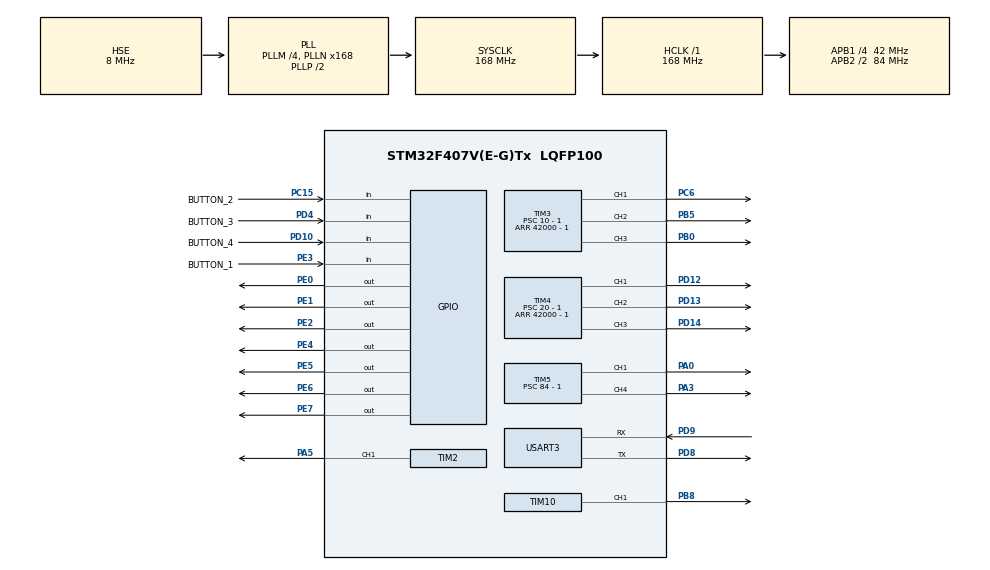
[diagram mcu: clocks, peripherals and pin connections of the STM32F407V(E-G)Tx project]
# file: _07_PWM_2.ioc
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Mcu.Family=STM32F4
Mcu.Name=STM32F407V(E-G)Tx
Mcu.Package=LQFP100
NVIC.PriorityGroup=NVIC_PRIORITYGROUP_4
NVIC.TIM7_IRQn=true\:0\:0\:false\:true\:true\:2\:true\:true\:true
NVIC.USART3_IRQn=true\:0\:0\:false\:true\:true\:1\:true\:true\:true
PA0-WKUP.Signal=S_TIM5_CH1
PA3.Signal=S_TIM5_CH4
PA5.Signal=S_TIM2_CH1_ETR
PB0.Signal=S_TIM3_CH3
PB5.Signal=S_TIM3_CH2
PB8.Signal=S_TIM10_CH1
PC15-OSC32_OUT.GPIO_Label=BUTTON_2
PC15-OSC32_OUT.Signal=GPIO_Input
PC6.Signal=S_TIM3_CH1
PD10.GPIO_Label=BUTTON_4
PD10.Signal=GPIO_Input
PD12.Signal=S_TIM4_CH1
PD13.Signal=S_TIM4_CH2
PD14.Signal=S_TIM4_CH3
PD4.GPIO_Label=BUTTON_3
PD4.Signal=GPIO_Input
PD8.Mode=Asynchronous
PD8.Signal=USART3_TX
PD9.Mode=Asynchronous
PD9.Signal=USART3_RX
PE0.Signal=GPIO_Output
PE1.Signal=GPIO_Output
PE2.Signal=GPIO_Output
PE3.GPIO_Label=BUTTON_1
PE3.Signal=GPIO_Input
PE4.Signal=GPIO_Output
PE5.Signal=GPIO_Output
PE6.Signal=GPIO_Output
PE7.Signal=GPIO_Output
PH0-OSC_IN.Mode=HSE-External-Oscillator
PH0-OSC_IN.Signal=RCC_OSC_IN
PH1-OSC_OUT.Mode=HSE-External-Oscillator
PH1-OSC_OUT.Signal=RCC_OSC_OUT
ProjectManager.HeapSize=0x200
ProjectManager.StackSize=0x400
ProjectManager.TargetToolchain=STM32CubeIDE
RCC.48MHZClocksFreq_Value=84000000
RCC.AHBFreq_Value=168000000
RCC.APB1CLKDivider=RCC_HCLK_DIV4
RCC.APB1Freq_Value=42000000
RCC.APB1TimFreq_Value=84000000
RCC.APB2CLKDivider=RCC_HCLK_DIV2
RCC.APB2Freq_Value=84000000
RCC.APB2TimFreq_Value=168000000
RCC.CortexFreq_Value=168000000
RCC.HCLKFreq_Value=168000000
RCC.HSE_VALUE=8000000
RCC.HSI_VALUE=16000000
RCC.LSE_VALUE=32768
RCC.PLLM=4
RCC.PLLN=168
RCC.PLLSourceVirtual=RCC_PLLSOURCE_HSE
RCC.SYSCLKFreq_VALUE=168000000
RCC.SYSCLKSource=RCC_SYSCLKSOURCE_PLLCLK
RCC.VCOOutputFreq_Value=336000000
SH.S_TIM10_CH1.0=TIM10_CH1,PWM Generation1 CH1
SH.S_TIM2_CH1_ETR.0=TIM2_CH1,PWM Generation1 CH1
SH.S_TIM3_CH1.0=TIM3_CH1,PWM Generation1 CH1
SH.S_TIM3_CH2.0=TIM3_CH2,PWM Generation2 CH2
SH.S_TIM3_CH3.0=TIM3_CH3,PWM Generation3 CH3
SH.S_TIM4_CH1.0=TIM4_CH1,PWM Generation1 CH1
SH.S_TIM4_CH2.0=TIM4_CH2,PWM Generation2 CH2
SH.S_TIM4_CH3.0=TIM4_CH3,PWM Generation3 CH3
SH.S_TIM5_CH1.0=TIM5_CH1,PWM Generation1 CH1
SH.S_TIM5_CH4.0=TIM5_CH4,PWM Generation4 CH4
TIM10.Channel=TIM_CHANNEL_1
TIM10.Period=10000 - 1
TIM10.Prescaler=336 - 1
TIM10.Pulse=210
TIM2.Channel-PWM\ Generation1\ CH1=TIM_CHANNEL_1
TIM2.Period=1000 - 1
TIM2.Prescaler=168 - 1
TIM2.Pulse-PWM\ Generation1\ CH1=500
TIM3.Channel-PWM\ Generation1\ CH1=TIM_CHANNEL_1
TIM3.Channel-PWM\ Generation2\ CH2=TIM_CHANNEL_2
TIM3.Channel-PWM\ Generation3\ CH3=TIM_CHANNEL_3
TIM3.Period=42000 - 1
TIM3.Prescaler=10 - 1
TIM3.Pulse-PWM\ Generation1\ CH1=21000 - 1
TIM3.Pulse-PWM\ Generation2\ CH2=10500 - 1
TIM3.Pulse-PWM\ Generation3\ CH3=5250 - 1
TIM4.Channel-PWM\ Generation1\ CH1=TIM_CHANNEL_1
TIM4.Channel-PWM\ Generation2\ CH2=TIM_CHANNEL_2
TIM4.Channel-PWM\ Generation3\ CH3=TIM_CHANNEL_3
TIM4.Period=42000 - 1
TIM4.Prescaler=20 - 1
TIM4.Pulse-PWM\ Generation1\ CH1=21000 - 1
TIM4.Pulse-PWM\ Generation2\ CH2=10500 - 1
TIM4.Pulse-PWM\ Generation3\ CH3=5250 - 1
TIM5.Channel-PWM\ Generation1\ CH1=TIM_CHANNEL_1
TIM5.Channel-PWM\ Generation4\ CH4=TIM_CHANNEL_4
TIM5.Period=10000 - 1
TIM5.Prescaler=84 - 1
TIM5.Pulse-PWM\ Generation1\ CH1=5000
TIM7.Period=8400 - 1
TIM7.Prescaler=10000 - 1
USART3.VirtualMode=VM_ASYNC
VP_TIM10_VS_ClockSourceINT.Mode=Enable_Timer
VP_TIM2_VS_ClockSourceINT.Mode=Internal
VP_TIM3_VS_ClockSourceINT.Mode=Internal
VP_TIM4_VS_ClockSourceINT.Mode=Internal
VP_TIM5_VS_ClockSourceINT.Mode=Internal
VP_TIM7_VS_ClockSourceINT.Mode=Enable_Timer
board=custom

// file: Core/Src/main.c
/* USER CODE BEGIN Header */
/**
  ******************************************************************************
  * @file           : main.c
  * @brief          : Main program body
  ******************************************************************************
  * @attention
  *
  * Copyright (c) 2025 STMicroelectronics.
  * All rights reserved.
  *
  * This software is licensed under terms that can be found in the LICENSE file
  * in the root directory of this software component.
  * If no LICENSE file comes with this software, it is provided AS-IS.
  *
  ******************************************************************************
  */
/* USER CODE END Header */
#include "main.h"

/* USER CODE BEGIN Includes */
#include <stdio.h>
#include "button.h"
#include "led.h"
#include "uart.h"
#include "lcd.h"
/* USER CODE END Includes */

TIM_HandleTypeDef htim2;
TIM_HandleTypeDef htim3;
TIM_HandleTypeDef htim4;
TIM_HandleTypeDef htim5;
TIM_HandleTypeDef htim7;
TIM_HandleTypeDef htim10;

UART_HandleTypeDef huart3;

void SystemClock_Config(void);
static void MX_GPIO_Init(void);
static void MX_USART3_UART_Init(void);
static void MX_TIM7_Init(void);
static void MX_TIM3_Init(void);
static void MX_TIM4_Init(void);
static void MX_TIM10_Init(void);
static void MX_TIM2_Init(void);
static void MX_TIM5_Init(void);
static void MX_NVIC_Init(void);

int main(void)
{

  /* MCU Configuration--------------------------------------------------------*/

  /* Reset of all peripherals, Initializes the Flash interface and the Systick. */
  HAL_Init();

  /* USER CODE BEGIN Init */
  CLCD_GPIO_Init();
  CLCD_Init();
  /* USER CODE END Init */

  /* Configure the system clock */
  SystemClock_Config();

  /* Initialize all configured peripherals */
  MX_GPIO_Init();
  MX_USART3_UART_Init();
  MX_TIM7_Init();
  MX_TIM3_Init();
  MX_TIM4_Init();
  MX_TIM10_Init();
  MX_TIM2_Init();
  MX_TIM5_Init();

  /* Initialize interrupts */
  MX_NVIC_Init();
  /* USER CODE BEGIN 2 */
  HAL_TIM_Base_Start_IT(&htim7);
  HAL_TIM_PWM_Start(&htim3, TIM_CHANNEL_1);
  HAL_TIM_PWM_Start(&htim3, TIM_CHANNEL_2);
  HAL_TIM_PWM_Start(&htim3, TIM_CHANNEL_3);
  HAL_TIM_PWM_Start(&htim4, TIM_CHANNEL_1);
  HAL_TIM_PWM_Start(&htim4, TIM_CHANNEL_2);
  HAL_TIM_PWM_Start(&htim4, TIM_CHANNEL_3);

  HAL_TIM_PWM_Start(&htim10, TIM_CHANNEL_1);
//  HAL_TIM_PWM_Start(&htim2, TIM_CHANNEL_1);
  HAL_TIM_PWM_Start(&htim5, TIM_CHANNEL_1);
  HAL_TIM_PWM_Start(&htim5, TIM_CHANNEL_2);

  CLCD_GPIO_Init();
  CLCD_Init();
  /* USER CODE END 2 */

  /* Infinite loop */
  /* USER CODE BEGIN WHILE */

  receive_data();
//  TIM10->CCR1 = 42;
  static bool turn_falg;
  static uint16_t ccr;
  static bool button_state;
  static bool last_button_state;

  static bool button_state_2;
  static bool last_button_state_2;

  static bool ccr_state;

//  TIM2->ARR = 500;
//  TIM2->CCR1 = 250;
  TIM5->CCR1 = 1000;
  TIM5->CCR4 = 0;

  uint8_t buffer[16];

  while (1)
  {

//	  button_state = HAL_GPIO_ReadPin(BUTTON_1_GPIO_Port, BUTTON_1_Pin);
//	  button_state_2 = HAL_GPIO_ReadPin(BUTTON_2_GPIO_Port, BUTTON_2_Pin);
//
//	  if (!last_button_state && button_state)
//	  {
//		  if (ccr_state)
//		  {
//			  ccr = 210;
//			  ccr_state = !ccr_state;
//		  }
//		  else
//		  {
//			  ccr = 1285;
//			  ccr_state = !ccr_state;
//		  }
//	  }
//
//	  TIM10->CCR1 = ccr;
//
//	  last_button_state = button_state;
//	  last_button_state_2 = button_state_2;
//	  if (ccr > 257)
//	  {
//		  turn_falg = true;
//	  }
//
//	  if (ccr < 42)
//	  {
//		  turn_falg = false;
//	  }
//
//	  if (turn_falg) ccr--;
//	  else ccr++;

	  TIM10->CCR1 = ccr;
	  ccr += 1000;
	  if (ccr > TIM10->ARR) ccr = 0;
	  HAL_Delay(50);

    /* USER CODE END WHILE */

  }
}

void SystemClock_Config(void)
{
  RCC_OscInitTypeDef RCC_OscInitStruct = {0};
  RCC_ClkInitTypeDef RCC_ClkInitStruct = {0};

  /** Configure the main internal regulator output voltage
  */
  __HAL_RCC_PWR_CLK_ENABLE();
  __HAL_PWR_VOLTAGESCALING_CONFIG(PWR_REGULATOR_VOLTAGE_SCALE1);

  /** Initializes the RCC Oscillators according to the specified parameters
  * in the RCC_OscInitTypeDef structure.
  */
  RCC_OscInitStruct.OscillatorType = RCC_OSCILLATORTYPE_HSE;
  RCC_OscInitStruct.HSEState = RCC_HSE_ON;
  RCC_OscInitStruct.PLL.PLLState = RCC_PLL_ON;
  RCC_OscInitStruct.PLL.PLLSource = RCC_PLLSOURCE_HSE;
  RCC_OscInitStruct.PLL.PLLM = 4;
  RCC_OscInitStruct.PLL.PLLN = 168;
  RCC_OscInitStruct.PLL.PLLP = RCC_PLLP_DIV2;
  RCC_OscInitStruct.PLL.PLLQ = 4;
  if (HAL_RCC_OscConfig(&RCC_OscInitStruct) != HAL_OK)
  {
    Error_Handler();
  }

  /** Initializes the CPU, AHB and APB buses clocks
  */
  RCC_ClkInitStruct.ClockType = RCC_CLOCKTYPE_HCLK|RCC_CLOCKTYPE_SYSCLK
                              |RCC_CLOCKTYPE_PCLK1|RCC_CLOCKTYPE_PCLK2;
  RCC_ClkInitStruct.SYSCLKSource = RCC_SYSCLKSOURCE_PLLCLK;
  RCC_ClkInitStruct.AHBCLKDivider = RCC_SYSCLK_DIV1;
  RCC_ClkInitStruct.APB1CLKDivider = RCC_HCLK_DIV4;
  RCC_ClkInitStruct.APB2CLKDivider = RCC_HCLK_DIV2;

  if (HAL_RCC_ClockConfig(&RCC_ClkInitStruct, FLASH_LATENCY_5) != HAL_OK)
  {
    Error_Handler();
  }
}

/**
  * @brief NVIC Configuration.
  * @retval None
  */
static void MX_NVIC_Init(void)
{
  /* USART3_IRQn interrupt configuration */
  HAL_NVIC_SetPriority(USART3_IRQn, 0, 0);
  HAL_NVIC_EnableIRQ(USART3_IRQn);
  /* TIM7_IRQn interrupt configuration */
  HAL_NVIC_SetPriority(TIM7_IRQn, 0, 0);
  HAL_NVIC_EnableIRQ(TIM7_IRQn);
}

static void MX_TIM2_Init(void)
{

  TIM_ClockConfigTypeDef sClockSourceConfig = {0};
  TIM_MasterConfigTypeDef sMasterConfig = {0};
  TIM_OC_InitTypeDef sConfigOC = {0};

  htim2.Instance = TIM2;
  htim2.Init.Prescaler = 168 - 1;
  htim2.Init.CounterMode = TIM_COUNTERMODE_UP;
  htim2.Init.Period = 1000 - 1;
  htim2.Init.ClockDivision = TIM_CLOCKDIVISION_DIV1;
  htim2.Init.AutoReloadPreload = TIM_AUTORELOAD_PRELOAD_DISABLE;
  if (HAL_TIM_Base_Init(&htim2) != HAL_OK)
  {
    Error_Handler();
  }
  sClockSourceConfig.ClockSource = TIM_CLOCKSOURCE_INTERNAL;
  if (HAL_TIM_ConfigClockSource(&htim2, &sClockSourceConfig) != HAL_OK)
  {
    Error_Handler();
  }
  if (HAL_TIM_PWM_Init(&htim2) != HAL_OK)
  {
    Error_Handler();
  }
  sMasterConfig.MasterOutputTrigger = TIM_TRGO_RESET;
  sMasterConfig.MasterSlaveMode = TIM_MASTERSLAVEMODE_DISABLE;
  if (HAL_TIMEx_MasterConfigSynchronization(&htim2, &sMasterConfig) != HAL_OK)
  {
    Error_Handler();
  }
  sConfigOC.OCMode = TIM_OCMODE_PWM1;
  sConfigOC.Pulse = 500;
  sConfigOC.OCPolarity = TIM_OCPOLARITY_HIGH;
  sConfigOC.OCFastMode = TIM_OCFAST_DISABLE;
  if (HAL_TIM_PWM_ConfigChannel(&htim2, &sConfigOC, TIM_CHANNEL_1) != HAL_OK)
  {
    Error_Handler();
  }
  HAL_TIM_MspPostInit(&htim2);

}

static void MX_TIM3_Init(void)
{

  TIM_ClockConfigTypeDef sClockSourceConfig = {0};
  TIM_MasterConfigTypeDef sMasterConfig = {0};
  TIM_OC_InitTypeDef sConfigOC = {0};

  htim3.Instance = TIM3;
  htim3.Init.Prescaler = 10 - 1;
  htim3.Init.CounterMode = TIM_COUNTERMODE_UP;
  htim3.Init.Period = 42000 - 1;
  htim3.Init.ClockDivision = TIM_CLOCKDIVISION_DIV1;
  htim3.Init.AutoReloadPreload = TIM_AUTORELOAD_PRELOAD_DISABLE;
  if (HAL_TIM_Base_Init(&htim3) != HAL_OK)
  {
    Error_Handler();
  }
  sClockSourceConfig.ClockSource = TIM_CLOCKSOURCE_INTERNAL;
  if (HAL_TIM_ConfigClockSource(&htim3, &sClockSourceConfig) != HAL_OK)
  {
    Error_Handler();
  }
  if (HAL_TIM_PWM_Init(&htim3) != HAL_OK)
  {
    Error_Handler();
  }
  sMasterConfig.MasterOutputTrigger = TIM_TRGO_RESET;
  sMasterConfig.MasterSlaveMode = TIM_MASTERSLAVEMODE_DISABLE;
  if (HAL_TIMEx_MasterConfigSynchronization(&htim3, &sMasterConfig) != HAL_OK)
  {
    Error_Handler();
  }
  sConfigOC.OCMode = TIM_OCMODE_PWM1;
  sConfigOC.Pulse = 21000 - 1;
  sConfigOC.OCPolarity = TIM_OCPOLARITY_HIGH;
  sConfigOC.OCFastMode = TIM_OCFAST_DISABLE;
  if (HAL_TIM_PWM_ConfigChannel(&htim3, &sConfigOC, TIM_CHANNEL_1) != HAL_OK)
  {
    Error_Handler();
  }
  sConfigOC.Pulse = 10500 - 1;
  if (HAL_TIM_PWM_ConfigChannel(&htim3, &sConfigOC, TIM_CHANNEL_2) != HAL_OK)
  {
    Error_Handler();
  }
  sConfigOC.Pulse = 5250 - 1;
  if (HAL_TIM_PWM_ConfigChannel(&htim3, &sConfigOC, TIM_CHANNEL_3) != HAL_OK)
  {
    Error_Handler();
  }
  HAL_TIM_MspPostInit(&htim3);

}

static void MX_TIM4_Init(void)
{

  TIM_ClockConfigTypeDef sClockSourceConfig = {0};
  TIM_MasterConfigTypeDef sMasterConfig = {0};
  TIM_OC_InitTypeDef sConfigOC = {0};

  htim4.Instance = TIM4;
  htim4.Init.Prescaler = 20 - 1;
  htim4.Init.CounterMode = TIM_COUNTERMODE_UP;
  htim4.Init.Period = 42000 - 1;
  htim4.Init.ClockDivision = TIM_CLOCKDIVISION_DIV1;
  htim4.Init.AutoReloadPreload = TIM_AUTORELOAD_PRELOAD_DISABLE;
  if (HAL_TIM_Base_Init(&htim4) != HAL_OK)
  {
    Error_Handler();
  }
  sClockSourceConfig.ClockSource = TIM_CLOCKSOURCE_INTERNAL;
  if (HAL_TIM_ConfigClockSource(&htim4, &sClockSourceConfig) != HAL_OK)
  {
    Error_Handler();
  }
  if (HAL_TIM_PWM_Init(&htim4) != HAL_OK)
  {
    Error_Handler();
  }
  sMasterConfig.MasterOutputTrigger = TIM_TRGO_RESET;
  sMasterConfig.MasterSlaveMode = TIM_MASTERSLAVEMODE_DISABLE;
  if (HAL_TIMEx_MasterConfigSynchronization(&htim4, &sMasterConfig) != HAL_OK)
  {
    Error_Handler();
  }
  sConfigOC.OCMode = TIM_OCMODE_PWM1;
  sConfigOC.Pulse = 21000 - 1;
  sConfigOC.OCPolarity = TIM_OCPOLARITY_HIGH;
  sConfigOC.OCFastMode = TIM_OCFAST_DISABLE;
  if (HAL_TIM_PWM_ConfigChannel(&htim4, &sConfigOC, TIM_CHANNEL_1) != HAL_OK)
  {
    Error_Handler();
  }
  sConfigOC.Pulse = 10500 - 1;
  if (HAL_TIM_PWM_ConfigChannel(&htim4, &sConfigOC, TIM_CHANNEL_2) != HAL_OK)
  {
    Error_Handler();
  }
  sConfigOC.Pulse = 5250 - 1;
  if (HAL_TIM_PWM_ConfigChannel(&htim4, &sConfigOC, TIM_CHANNEL_3) != HAL_OK)
  {
    Error_Handler();
  }
  HAL_TIM_MspPostInit(&htim4);

}

static void MX_TIM5_Init(void)
{

  TIM_ClockConfigTypeDef sClockSourceConfig = {0};
  TIM_MasterConfigTypeDef sMasterConfig = {0};
  TIM_OC_InitTypeDef sConfigOC = {0};

  htim5.Instance = TIM5;
  htim5.Init.Prescaler = 84 - 1;
  htim5.Init.CounterMode = TIM_COUNTERMODE_UP;
  htim5.Init.Period = 10000 - 1;
  htim5.Init.ClockDivision = TIM_CLOCKDIVISION_DIV1;
  htim5.Init.AutoReloadPreload = TIM_AUTORELOAD_PRELOAD_DISABLE;
  if (HAL_TIM_Base_Init(&htim5) != HAL_OK)
  {
    Error_Handler();
  }
  sClockSourceConfig.ClockSource = TIM_CLOCKSOURCE_INTERNAL;
  if (HAL_TIM_ConfigClockSource(&htim5, &sClockSourceConfig) != HAL_OK)
  {
    Error_Handler();
  }
  if (HAL_TIM_PWM_Init(&htim5) != HAL_OK)
  {
    Error_Handler();
  }
  sMasterConfig.MasterOutputTrigger = TIM_TRGO_RESET;
  sMasterConfig.MasterSlaveMode = TIM_MASTERSLAVEMODE_DISABLE;
  if (HAL_TIMEx_MasterConfigSynchronization(&htim5, &sMasterConfig) != HAL_OK)
  {
    Error_Handler();
  }
  sConfigOC.OCMode = TIM_OCMODE_PWM1;
  sConfigOC.Pulse = 5000;
  sConfigOC.OCPolarity = TIM_OCPOLARITY_HIGH;
  sConfigOC.OCFastMode = TIM_OCFAST_DISABLE;
  if (HAL_TIM_PWM_ConfigChannel(&htim5, &sConfigOC, TIM_CHANNEL_1) != HAL_OK)
  {
    Error_Handler();
  }
  sConfigOC.Pulse = 0;
  if (HAL_TIM_PWM_ConfigChannel(&htim5, &sConfigOC, TIM_CHANNEL_4) != HAL_OK)
  {
    Error_Handler();
  }
  HAL_TIM_MspPostInit(&htim5);

}

static void MX_TIM7_Init(void)
{

  TIM_MasterConfigTypeDef sMasterConfig = {0};

  htim7.Instance = TIM7;
  htim7.Init.Prescaler = 10000 - 1;
  htim7.Init.CounterMode = TIM_COUNTERMODE_UP;
  htim7.Init.Period = 8400 - 1;
  htim7.Init.AutoReloadPreload = TIM_AUTORELOAD_PRELOAD_DISABLE;
  if (HAL_TIM_Base_Init(&htim7) != HAL_OK)
  {
    Error_Handler();
  }
  sMasterConfig.MasterOutputTrigger = TIM_TRGO_RESET;
  sMasterConfig.MasterSlaveMode = TIM_MASTERSLAVEMODE_DISABLE;
  if (HAL_TIMEx_MasterConfigSynchronization(&htim7, &sMasterConfig) != HAL_OK)
  {
    Error_Handler();
  }

}

static void MX_TIM10_Init(void)
{

  TIM_OC_InitTypeDef sConfigOC = {0};

  htim10.Instance = TIM10;
  htim10.Init.Prescaler = 336 - 1;
  htim10.Init.CounterMode = TIM_COUNTERMODE_UP;
  htim10.Init.Period = 10000 - 1;
  htim10.Init.ClockDivision = TIM_CLOCKDIVISION_DIV1;
  htim10.Init.AutoReloadPreload = TIM_AUTORELOAD_PRELOAD_DISABLE;
  if (HAL_TIM_Base_Init(&htim10) != HAL_OK)
  {
    Error_Handler();
  }
  if (HAL_TIM_PWM_Init(&htim10) != HAL_OK)
  {
    Error_Handler();
  }
  sConfigOC.OCMode = TIM_OCMODE_PWM1;
  sConfigOC.Pulse = 210;
  sConfigOC.OCPolarity = TIM_OCPOLARITY_HIGH;
  sConfigOC.OCFastMode = TIM_OCFAST_DISABLE;
  if (HAL_TIM_PWM_ConfigChannel(&htim10, &sConfigOC, TIM_CHANNEL_1) != HAL_OK)
  {
    Error_Handler();
  }
  HAL_TIM_MspPostInit(&htim10);

}

static void MX_USART3_UART_Init(void)
{

  huart3.Instance = USART3;
  huart3.Init.BaudRate = 115200;
  huart3.Init.WordLength = UART_WORDLENGTH_8B;
  huart3.Init.StopBits = UART_STOPBITS_1;
  huart3.Init.Parity = UART_PARITY_NONE;
  huart3.Init.Mode = UART_MODE_TX_RX;
  huart3.Init.HwFlowCtl = UART_HWCONTROL_NONE;
  huart3.Init.OverSampling = UART_OVERSAMPLING_16;
  if (HAL_UART_Init(&huart3) != HAL_OK)
  {
    Error_Handler();
  }

}

static void MX_GPIO_Init(void)
{
  GPIO_InitTypeDef GPIO_InitStruct = {0};

  /* GPIO Ports Clock Enable */
  __HAL_RCC_GPIOE_CLK_ENABLE();
  __HAL_RCC_GPIOC_CLK_ENABLE();
  __HAL_RCC_GPIOH_CLK_ENABLE();
  __HAL_RCC_GPIOA_CLK_ENABLE();
  __HAL_RCC_GPIOB_CLK_ENABLE();
  __HAL_RCC_GPIOD_CLK_ENABLE();

  /*Configure GPIO pin Output Level */
  HAL_GPIO_WritePin(GPIOE, GPIO_PIN_2|GPIO_PIN_4|GPIO_PIN_5|GPIO_PIN_6
                          |GPIO_PIN_7|GPIO_PIN_0|GPIO_PIN_1, GPIO_PIN_RESET);

  /*Configure GPIO pins : PE2 PE4 PE5 PE6
                           PE7 PE0 PE1 */
  GPIO_InitStruct.Pin = GPIO_PIN_2|GPIO_PIN_4|GPIO_PIN_5|GPIO_PIN_6
                          |GPIO_PIN_7|GPIO_PIN_0|GPIO_PIN_1;
  GPIO_InitStruct.Mode = GPIO_MODE_OUTPUT_PP;
  GPIO_InitStruct.Pull = GPIO_NOPULL;
  GPIO_InitStruct.Speed = GPIO_SPEED_FREQ_LOW;
  HAL_GPIO_Init(GPIOE, &GPIO_InitStruct);

  /*Configure GPIO pin : BUTTON_1_Pin */
  GPIO_InitStruct.Pin = BUTTON_1_Pin;
  GPIO_InitStruct.Mode = GPIO_MODE_INPUT;
  GPIO_InitStruct.Pull = GPIO_NOPULL;
  HAL_GPIO_Init(BUTTON_1_GPIO_Port, &GPIO_InitStruct);

  /*Configure GPIO pin : BUTTON_2_Pin */
  GPIO_InitStruct.Pin = BUTTON_2_Pin;
  GPIO_InitStruct.Mode = GPIO_MODE_INPUT;
  GPIO_InitStruct.Pull = GPIO_NOPULL;
  HAL_GPIO_Init(BUTTON_2_GPIO_Port, &GPIO_InitStruct);

  /*Configure GPIO pins : BUTTON_4_Pin BUTTON_3_Pin */
  GPIO_InitStruct.Pin = BUTTON_4_Pin|BUTTON_3_Pin;
  GPIO_InitStruct.Mode = GPIO_MODE_INPUT;
  GPIO_InitStruct.Pull = GPIO_NOPULL;
  HAL_GPIO_Init(GPIOD, &GPIO_InitStruct);

}

/* USER CODE BEGIN 4 */
int _write(int file, char *ptr, int len)
{
	HAL_UART_Transmit(&huart3, (const uint8_t*) ptr, len, 100);

	return len;
}

void HAL_UART_RxCpltCallback(UART_HandleTypeDef *huart)
{
	if (huart->Instance == USART3)
	{
		if (receive_data() == HAL_OK)
		{
			transmit_data();
		}
	}
}

void HAL_TIM_PeriodElapsedCallback(TIM_HandleTypeDef *htim)
{
	if (htim->Instance == TIM7)
	{

	}
}
/* USER CODE END 4 */

void Error_Handler(void)
{
  __disable_irq();
  while (1)
  {
  }
}
